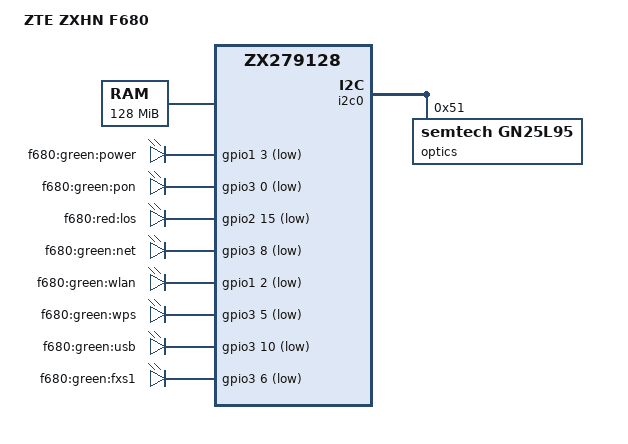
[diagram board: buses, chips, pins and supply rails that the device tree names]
// SPDX-License-Identifier: GPL-2.0-or-later OR MIT
/dts-v1/;

#include "zx279128.dtsi"

/ {
	model = "ZTE ZXHN F680";
	compatible = "zte,f680", "zte,zx279128";

	aliases {
		serial0 = &uart0;
	};

	chosen {
		bootargs = "console=ttyAMA0,115200";
		stdout-path = "serial0:115200n8";
	};

	memory@40000000 {
		device_type = "memory";
		reg = <0x40000000 0x8000000>;
	};

	/*
	 * The panel lamps on SoC GPIO, all active low: stock's board table (board id 20, read from the eight strap pins
	 * 59-64/20/21) sets every lamp output high at init but POWER, and its LED commands index that same table.
	 * LAN1-4 (GPIO 49-52) stay muxed to the switch, which drives them; PON/LOS colours are the stock behaviour.
	 */
	leds {
		compatible = "gpio-leds";

		led-power {
			label = "f680:green:power";
			gpios = <&gpio1 3 1>;
			default-state = "on";
		};

		led-pon {
			label = "f680:green:pon";
			gpios = <&gpio3 0 1>;
			default-state = "off";
		};

		led-los {
			label = "f680:red:los";
			gpios = <&gpio2 15 1>;
			default-state = "off";
		};

		led-net {
			label = "f680:green:net";
			gpios = <&gpio3 8 1>;
			default-state = "off";
		};

		led-wlan {
			label = "f680:green:wlan";
			gpios = <&gpio1 2 1>;
			default-state = "off";
		};

		led-wps {
			label = "f680:green:wps";
			gpios = <&gpio3 5 1>;
			default-state = "off";
		};

		led-usb {
			label = "f680:green:usb";
			gpios = <&gpio3 10 1>;
			default-state = "off";
		};

		led-fxs1 {
			label = "f680:green:fxs1";
			gpios = <&gpio3 6 1>;
			default-state = "off";
		};
	};
};

/* The GN25L95 BOSA: its SFF-8472 pages at 0x50/0x51, configured from its own memory (stock never writes it). */
&i2c0 {
	status = "okay";

	optics: bosa@51 {
		compatible = "semtech,gn25l95";
		reg = <0x51>;
	};
};

/*
 * GPIO 72 is the BOSA's TX_DISABLE (A2h 0x6e bit 7 follows it): low transmits, as stock's board table drives it.
 * The stock U-Boot holds it high; the GPON driver keeps it high until its transmitter is enabled.
 */
&eth {
	laser-enable-gpios = <&gpio4 8 1>;
	optics = <&optics>;
};
